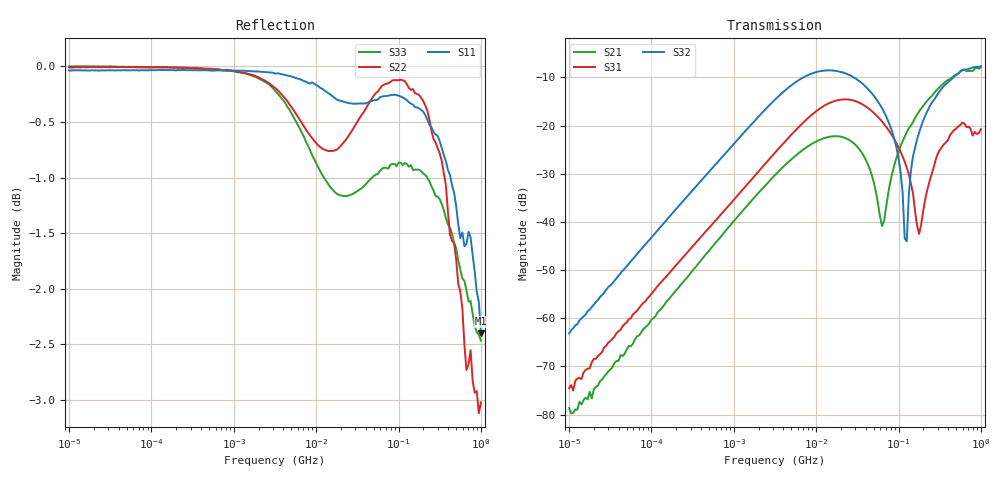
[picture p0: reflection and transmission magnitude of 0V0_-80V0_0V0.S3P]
!Keysight Technologies,E5080A,MY55100144,A.11.70.03
!Date: Monday, November 13, 2017 17:21:17
!Correction: S11(Full 3 Port(1,2,3))
!S12(Full 3 Port(1,2,3))
!S13(Full 3 Port(1,2,3))
!S21(Full 3 Port(1,2,3))
!S22(Full 3 Port(1,2,3))
!S23(Full 3 Port(1,2,3))
!S31(Full 3 Port(1,2,3))
!S32(Full 3 Port(1,2,3))
!S33(Full 3 Port(1,2,3))
!S3P File: Measurements: <S11,S12,S13>,
!<S21,S22,S23>,
!<S31,S32,S33>:Log Frequency Sweep
# Hz S  RI  R 50
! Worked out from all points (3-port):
!   201 points, 10 kHz to 1 GHz, reference 50 ohm
!   strongest paths, dB at 10 kHz, 177.8 kHz, 3.162 MHz, 56.23 MHz, 1 GHz:
!     S32: -63.2, -38.3, -14.6, -15.0, -7.7
!     S31: -74.6, -49.9, -25.6, -18.2, -20.8
!     S21: -78.6, -55.2, -30.3, -36.1, -8.0
!   lowest |S11| = -2.4 dB at 1 GHz (marker M1), VSWR 7.29, Z = 364 + j15.2 ohm
!   |S11| at or under -10 dB: nowhere
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10000  0.9957 -0.000732  2.29e-05 0.000102  -5.21e-05 0.000192
       1.8e-05 0.000116  0.9988 -0.00324  9.61e-06 0.000712
       2.57e-05 0.000186  -1.15e-05 0.000694  0.9998 -0.00248
3162278  0.9249 -0.3598  0.0116 0.0283  0.0151 0.0502
         0.0117 0.0283  0.7148 -0.6674  0.0942 0.1602
         0.0152 0.05  0.0944 0.1602  0.9351 -0.2763
1.778279e7  -0.0639 -0.964  0.0771 0.00706  0.1791 0.0332
            0.0772 0.00686  -0.6127 -0.6828  0.3607 -0.0737
            0.1791 0.033  0.3605 -0.0737  0.2934 -0.8259
6.309573e7  -0.9094 -0.335  0.00878 0.00238  0.0526 -0.0966
            0.00875 0.00229  -0.98 -0.0176  0.0484 -0.1432
            0.0526 -0.0968  0.0484 -0.1432  -0.7134 -0.5477
9.440609e7  -0.9676 -0.0768  0.00554 0.0459  0.012 -0.0643
            0.00564 0.046  -0.9598 0.2246  0.0019 -0.0589
            0.012 -0.0644  0.0019 -0.0588  -0.8596 -0.2725
1.258925e8  -0.9593 0.1103  0.0231 0.0818  0.000618 -0.0363
            0.0233 0.0817  -0.8915 0.4112  0.00161 0.00604
            0.000649 -0.0364  0.00162 0.00607  -0.9015 -0.0654
1.778279e8  -0.8955 0.3385  0.071 0.1205  0.00625 -0.00421
            0.0712 0.1206  -0.7357 0.6334  0.04 0.0749
            0.00625 -0.00414  0.04 0.0747  -0.8798 0.1823
3.758374e8  -0.4235 0.8015  0.2828 0.0504  0.0664 -0.00679
            0.283 0.0504  0.068 0.8816  0.2629 0.0624
            0.0662 -0.00695  0.2627 0.0625  -0.5086 0.687
7.079458e8  0.4425 0.7171  0.206 -0.3045  0.0055 -0.0969
            0.2056 -0.3048  0.6992 0.2252  0.2449 -0.2977
            0.00559 -0.0969  0.2452 -0.2975  0.2554 0.7411
1e9  0.7586 0.00886  -0.0928 -0.3881  -0.0568 -0.0718
     -0.0933 -0.3879  0.591 -0.3867  -0.0444 -0.4108
     -0.0568 -0.0718  -0.0442 -0.4108  0.6861 0.3102
